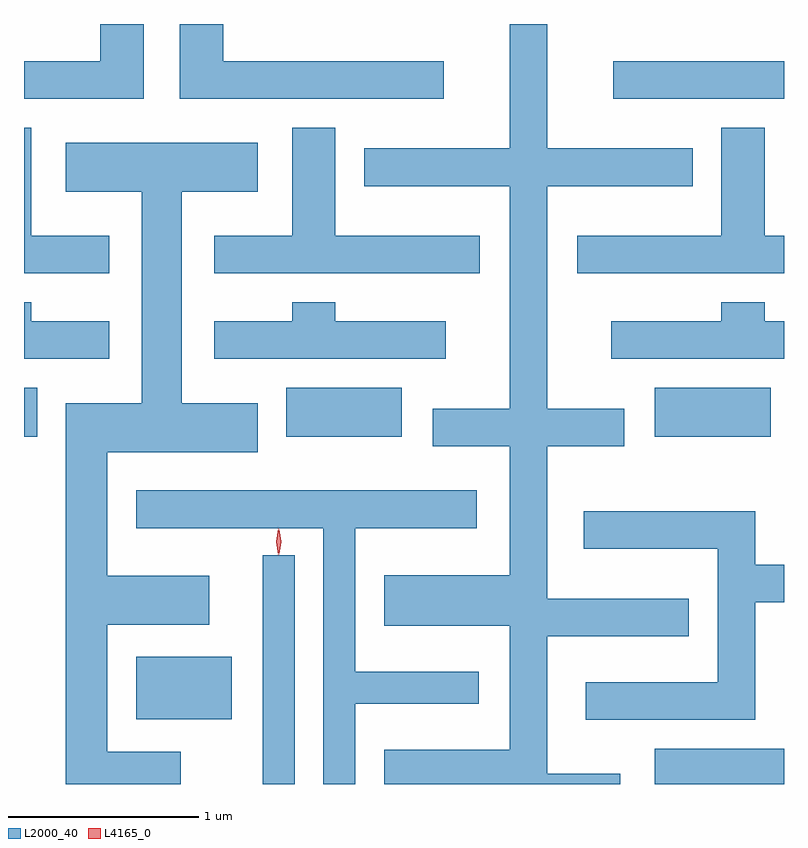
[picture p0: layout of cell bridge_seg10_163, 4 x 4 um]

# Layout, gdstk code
import gdstk
lib = gdstk.Library(unit=1e-6, precision=1e-09)
def R(c, l, rs):  # rectangles x0, y0, x1, y1
    for r in rs: c.add(gdstk.rectangle(r[:2], r[2:], *l))
def P(c, l, *ps):  # polygons
    for p in ps: c.add(gdstk.Polygon(p, *l))
L2000_40 = (2000, 40)
L4165_0 = (4165, 0)

bridge_seg10_163 = lib.new_cell('bridge_seg10_163')
R(bridge_seg10_163, L2000_40, [(1825.671,2140.969,1825.839,2142.173), (1827.736,2140.969,1828.415,2141.154), (1825.006,2141.311,1825.509,2141.639), (1824.415,2142.796,1824.484,2143.054), (1825.796,2142.796,1826.404,2143.054), (1827.736,2142.796,1828.344,2143.054), (1827.516,2144.576,1828.415,2144.774)])
P(bridge_seg10_163, L2000_40, [(1827.554,2141.024),(1827.169,2141.024),(1827.169,2141.746),(1827.914,2141.746),(1827.914,2141.944),(1827.169,2141.944),(1827.169,2142.746),(1827.574,2142.746),(1827.574,2142.944),(1827.169,2142.944),(1827.169,2144.116),(1827.934,2144.116),(1827.934,2144.314),(1827.169,2144.314),(1827.169,2144.969),(1826.971,2144.969),(1826.971,2144.314),(1826.206,2144.314),(1826.206,2144.116),(1826.971,2144.116),(1826.971,2142.944),(1826.566,2142.944),(1826.566,2142.746),(1826.971,2142.746),(1826.971,2142.069),(1826.311,2142.069),(1826.311,2141.801),(1826.971,2141.801),(1826.971,2141.149),(1826.311,2141.149),(1826.311,2140.969),(1827.554,2140.969)],
  [(1826.624,2144.774),(1825.464,2144.774),(1825.464,2144.969),(1825.236,2144.969),(1825.236,2144.576),(1826.624,2144.576)],
  [(1825.044,2144.969),(1824.816,2144.969),(1824.816,2144.774),(1824.415,2144.774),(1824.415,2144.576),(1825.044,2144.576)],
  [(1824.864,2143.854),(1824.454,2143.854),(1824.454,2144.424),(1824.415,2144.424),(1824.415,2143.656),(1824.864,2143.656)],
  [(1828.415,2143.854),(1828.314,2143.854),(1828.314,2144.424),(1828.086,2144.424),(1828.086,2143.854),(1827.326,2143.854),(1827.326,2143.656),(1828.415,2143.656)],
  [(1826.814,2143.854),(1826.054,2143.854),(1826.054,2144.424),(1825.826,2144.424),(1825.826,2143.854),(1825.416,2143.854),(1825.416,2143.656),(1826.814,2143.656)],
  [(1825.239,2141.139),(1824.854,2141.139),(1824.854,2141.806),(1825.389,2141.806),(1825.389,2142.064),(1824.854,2142.064),(1824.854,2142.716),(1825.644,2142.716),(1825.644,2142.974),(1825.244,2142.974),(1825.244,2144.086),(1825.644,2144.086),(1825.644,2144.344),(1824.636,2144.344),(1824.636,2144.086),(1825.036,2144.086),(1825.036,2142.974),(1824.636,2142.974),(1824.636,2140.969),(1825.239,2140.969)],
  [(1824.864,2143.404),(1824.454,2143.404),(1824.454,2143.504),(1824.415,2143.504),(1824.415,2143.206),(1824.864,2143.206)],
  [(1828.415,2143.404),(1828.314,2143.404),(1828.314,2143.504),(1828.086,2143.504),(1828.086,2143.404),(1827.506,2143.404),(1827.506,2143.206),(1828.415,2143.206)],
  [(1826.634,2143.404),(1826.054,2143.404),(1826.054,2143.504),(1825.826,2143.504),(1825.826,2143.404),(1825.416,2143.404),(1825.416,2143.206),(1826.634,2143.206)],
  [(1826.159,2141.391),(1826.808,2141.391),(1826.808,2141.559),(1826.159,2141.559),(1826.159,2142.316),(1826.799,2142.316),(1826.799,2142.514),(1825.006,2142.514),(1825.006,2142.316),(1825.991,2142.316),(1825.991,2140.969),(1826.159,2140.969)],
  [(1828.264,2141.926),(1828.415,2141.926),(1828.415,2142.124),(1828.264,2142.124),(1828.264,2142.404),(1827.361,2142.404),(1827.361,2142.206),(1828.066,2142.206),(1828.066,2141.504),(1827.371,2141.504),(1827.371,2141.306),(1828.264,2141.306)])
P(bridge_seg10_163, L4165_0, [(1825.753,2142.174),(1825.752,2142.175),(1825.743,2142.244),(1825.752,2142.313),(1825.753,2142.314),(1825.753,2142.313),(1825.763,2142.244),(1825.753,2142.175)],
  [(1825.758,2142.178),(1825.758,2142.178),(1825.748,2142.244),(1825.758,2142.31),(1825.759,2142.311),(1825.759,2142.31),(1825.768,2142.244),(1825.759,2142.178)])

lib.write_gds('bridge_seg10_163.gds')
